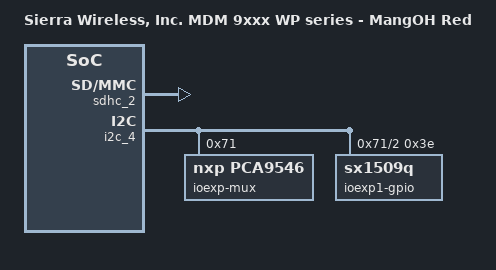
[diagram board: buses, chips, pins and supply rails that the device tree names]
/*
 * Copyright (c) 2019, The Linux Foundation. All rights reserved.
 *
 * This program is free software; you can redistribute it and/or modify
 * it under the terms of the GNU General Public License version 2 and
 * only version 2 as published by the Free Software Foundation.
 *
 * This program is distributed in the hope that it will be useful,
 * but WITHOUT ANY WARRANTY; without even the implied warranty of
 * MERCHANTABILITY or FITNESS FOR A PARTICULAR PURPOSE.  See the
 * GNU General Public License for more details.
 */

/ {
	model = "Sierra Wireless, Inc. MDM 9xxx WP series - MangOH Red";
	compatible = "qcom,mdm9607-mtp", "qcom,mdm9607", "qcom,mtp";
	qcom,board-id = <8 0x82>;
};

&sdhc_2 {
	status = "ok";
	ti,non-removable;
	ti,needs-special-hs-handling;
	cap-power-off-card;
	keep-power-in-suspend;
};

&soc {
	sierra_gpio {
		alias-BATTGAUGE_INT = <300 0>;
		alias-BATTCHRGR_INT = <301 0>;
		/* No GPIO 2 */
		alias-GPIO_EXP_RPI_1 = <303 0>;
		alias-GPIO_EXP_RPI_2 = <304 0>;
		alias-MTK_TO_WP_UART_EN = <305 0>;
		alias-WIFI_UART1_TX = <306 0>;
		alias-GPIO_EXP_RPI_3 = <307 0>;
		alias-LED_CARD_DETECT_IOT0 = <308 0>;
		alias-SDIO_SEL = <309 0>;
		alias-POWER_FAIL_INDIC = <310 0>;
		alias-SENSOR_INT1 = <311 0>;
		alias-SENSOR_INT2 = <312 0>;
		alias-PCM_EXP1_SEL = <313 0>;
		alias-GENERIC_PUSH_BUTTON = <314 0>;
		alias-CONS_DIR = <315 0>;
	};
};

&i2c_4 {
	ioexp-mux@71 {
		// IO expander is below the I2C switch PCA9546
		compatible = "nxp,pca9546";
		reg = <0x71>;
		#address-cells = <1>;
		#size-cells = <0>;

		i2c@4 {
			// IO expander 1: channel 2
			#address-cells = <1>;
			#size-cells = <0>;
			reg = <2>;
			ioexp1_gpios: io_exp@3e {
				#gpio-cells = <2>;
				gpio-controller;
				compatible = "sx1509q";
				reg = <0x3e>;
				sx150x,pullup_ena = <0x0>;
				sx150x,pulldn_ena = <0x0>;
				sx150x,float_ena = <0x0>;
				sx150x,polarity = <0x0>;
				label = "ioexp1-gpio";
				sx150x,gpio_base = <300>;
			};
		};
	};
};

